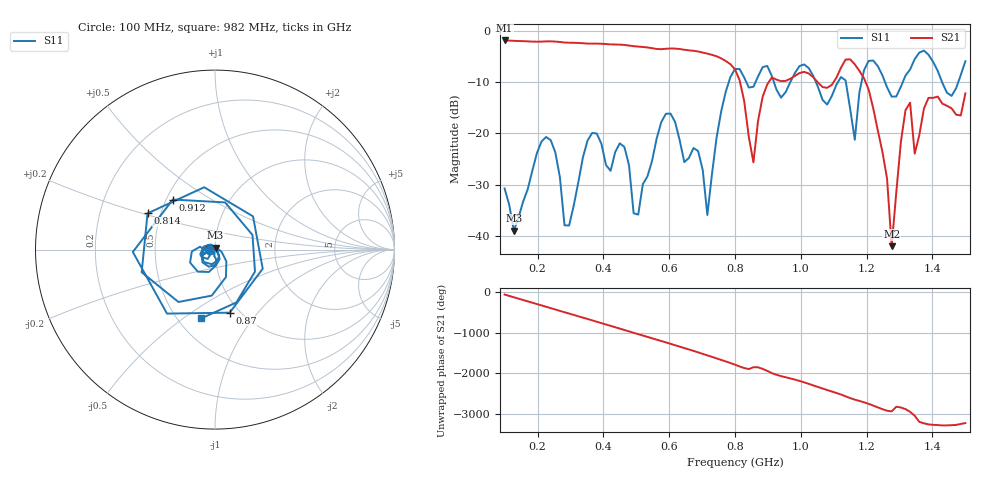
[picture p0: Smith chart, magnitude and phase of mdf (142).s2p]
! NanoVNA-App
! Date: 2025-09-25 15:39:32
! Start: 100MHz Stop: 1,5GHz Points: 101
! S-Parameter data: F S11 S21 S12 S22
# Hz S RI R 50
!  Frequency  S11_Real  S11_Imag  S21_Real  S21_Imag  S12_Real  S12_Imag  S22_Real  S22_Imag
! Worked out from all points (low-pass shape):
!   101 points, 100 MHz to 1.5 GHz, reference 50 ohm
!   highest |S21| = -1.80 dB at 100 MHz (marker M1); lowest = -42.0 dB at 1.276 GHz (marker M2)
!   |S21| within 3 dB of the highest: start of sweep to 739.2 MHz
!   lowest |S11| = -39.0 dB at 128 MHz (marker M3), VSWR 1.02, Z = 50.3 + j1.08 ohm
!   |S11| at or under -10 dB: start of sweep to 780.9 MHz; 1.046 GHz to 1.112 GHz (66.23 MHz wide, 6.14 % of centre); 1.256 GHz to 1.31 GHz (53.34 MHz wide, 4.16 % of centre) (the widest 3 of 7)
!   S12 and S22 are empty: the file has one direction only
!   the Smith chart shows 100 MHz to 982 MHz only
!   S11 on the Smith chart (normalised r, x): 100 MHz: 0.94, -0.01; 814 MHz: 0.42, +0.21; 870 MHz: 0.90, -0.73; 912 MHz: 0.54, +0.35; 982 MHz: 0.65, -0.59
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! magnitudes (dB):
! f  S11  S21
! 100 MHz  -30.8  -1.8
! 128 MHz  -39.0  -1.9
! 212 MHz  -21.6  -2.0
! 282 MHz  -38.0  -2.2
! 338 MHz  -24.7  -2.3
! 464 MHz  -22.6  -2.7
! 506 MHz  -35.9  -3.0
! 576 MHz  -17.8  -3.5
! 716 MHz  -36.0  -4.4
! 800 MHz  -7.4  -7.5
! 814 MHz  -7.4  -9.6
! 856 MHz  -10.9  -25.6
! 870 MHz  -8.9  -17.6
! 912 MHz  -8.8  -9.0
! 982 MHz  -8.2  -8.7
! 1.038 GHz  -8.8  -9.0
! 1.164 GHz  -21.2  -6.5
! 1.192 GHz  -7.6  -9.2
! 1.276 GHz  -12.8  -42.0
! 1.318 GHz  -8.7  -15.5
! 1.346 GHz  -5.5  -23.9
! 1.5 GHz  -5.9  -12.2
